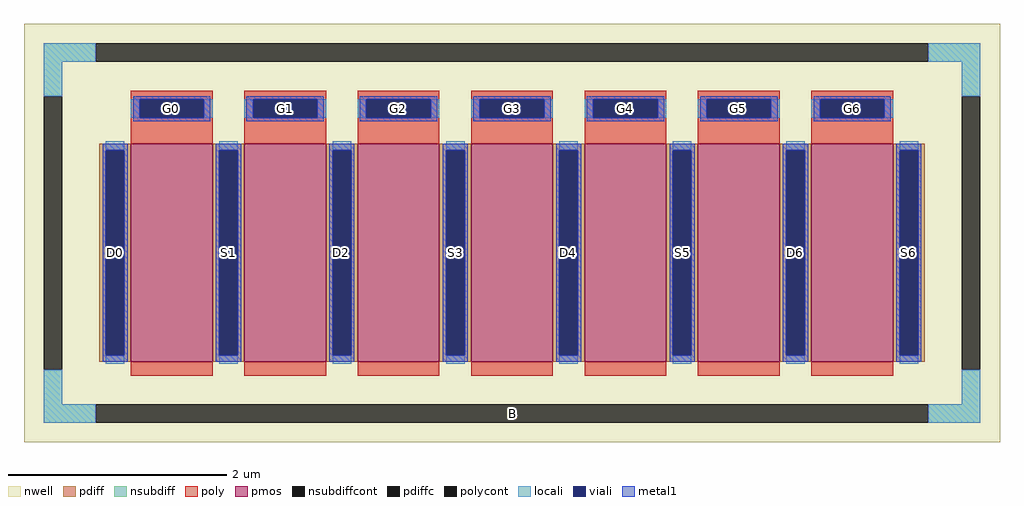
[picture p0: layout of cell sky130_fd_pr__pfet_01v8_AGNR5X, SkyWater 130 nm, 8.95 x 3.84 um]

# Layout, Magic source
magic
tech sky130A
magscale 1 2
<< nwell >>
rect -895 -384 895 384
<< pmos >>
rect -699 -236 -549 164
rect -491 -236 -341 164
rect -283 -236 -133 164
rect -75 -236 75 164
rect 133 -236 283 164
rect 341 -236 491 164
rect 549 -236 699 164
<< pdiff >>
rect -757 152 -699 164
rect -757 -224 -745 152
rect -711 -224 -699 152
rect -757 -236 -699 -224
rect -549 152 -491 164
rect -549 -224 -537 152
rect -503 -224 -491 152
rect -549 -236 -491 -224
rect -341 152 -283 164
rect -341 -224 -329 152
rect -295 -224 -283 152
rect -341 -236 -283 -224
rect -133 152 -75 164
rect -133 -224 -121 152
rect -87 -224 -75 152
rect -133 -236 -75 -224
rect 75 152 133 164
rect 75 -224 87 152
rect 121 -224 133 152
rect 75 -236 133 -224
rect 283 152 341 164
rect 283 -224 295 152
rect 329 -224 341 152
rect 283 -236 341 -224
rect 491 152 549 164
rect 491 -224 503 152
rect 537 -224 549 152
rect 491 -236 549 -224
rect 699 152 757 164
rect 699 -224 711 152
rect 745 -224 757 152
rect 699 -236 757 -224
<< pdiffc >>
rect -745 -224 -711 152
rect -537 -224 -503 152
rect -329 -224 -295 152
rect -121 -224 -87 152
rect 87 -224 121 152
rect 295 -224 329 152
rect 503 -224 537 152
rect 711 -224 745 152
<< nsubdiff >>
rect -859 314 -763 348
rect 763 314 859 348
rect -859 251 -825 314
rect 825 251 859 314
rect -859 -314 -825 -251
rect 825 -314 859 -251
rect -859 -348 -763 -314
rect 763 -348 859 -314
<< nsubdiffcont >>
rect -763 314 763 348
rect -859 -251 -825 251
rect 825 -251 859 251
rect -763 -348 763 -314
<< poly >>
rect -699 245 -549 261
rect -699 211 -683 245
rect -565 211 -549 245
rect -699 164 -549 211
rect -491 245 -341 261
rect -491 211 -475 245
rect -357 211 -341 245
rect -491 164 -341 211
rect -283 245 -133 261
rect -283 211 -267 245
rect -149 211 -133 245
rect -283 164 -133 211
rect -75 245 75 261
rect -75 211 -59 245
rect 59 211 75 245
rect -75 164 75 211
rect 133 245 283 261
rect 133 211 149 245
rect 267 211 283 245
rect 133 164 283 211
rect 341 245 491 261
rect 341 211 357 245
rect 475 211 491 245
rect 341 164 491 211
rect 549 245 699 261
rect 549 211 565 245
rect 683 211 699 245
rect 549 164 699 211
rect -699 -262 -549 -236
rect -491 -262 -341 -236
rect -283 -262 -133 -236
rect -75 -262 75 -236
rect 133 -262 283 -236
rect 341 -262 491 -236
rect 549 -262 699 -236
<< polycont >>
rect -683 211 -565 245
rect -475 211 -357 245
rect -267 211 -149 245
rect -59 211 59 245
rect 149 211 267 245
rect 357 211 475 245
rect 565 211 683 245
<< locali >>
rect -859 314 -763 348
rect 763 314 859 348
rect -859 251 -825 314
rect 825 251 859 314
rect -699 211 -683 245
rect -565 211 -549 245
rect -491 211 -475 245
rect -357 211 -341 245
rect -283 211 -267 245
rect -149 211 -133 245
rect -75 211 -59 245
rect 59 211 75 245
rect 133 211 149 245
rect 267 211 283 245
rect 341 211 357 245
rect 475 211 491 245
rect 549 211 565 245
rect 683 211 699 245
rect -745 152 -711 168
rect -745 -240 -711 -224
rect -537 152 -503 168
rect -537 -240 -503 -224
rect -329 152 -295 168
rect -329 -240 -295 -224
rect -121 152 -87 168
rect -121 -240 -87 -224
rect 87 152 121 168
rect 87 -240 121 -224
rect 295 152 329 168
rect 295 -240 329 -224
rect 503 152 537 168
rect 503 -240 537 -224
rect 711 152 745 168
rect 711 -240 745 -224
rect -859 -314 -825 -251
rect 825 -314 859 -251
rect -859 -348 -763 -314
rect 763 -348 859 -314
<< viali >>
rect -683 211 -565 245
rect -475 211 -357 245
rect -267 211 -149 245
rect -59 211 59 245
rect 149 211 267 245
rect 357 211 475 245
rect 565 211 683 245
rect -745 -224 -711 152
rect -537 -224 -503 152
rect -329 -224 -295 152
rect -121 -224 -87 152
rect 87 -224 121 152
rect 295 -224 329 152
rect 503 -224 537 152
rect 711 -224 745 152
<< metal1 >>
rect -695 245 -553 251
rect -695 211 -683 245
rect -565 211 -553 245
rect -695 205 -553 211
rect -487 245 -345 251
rect -487 211 -475 245
rect -357 211 -345 245
rect -487 205 -345 211
rect -279 245 -137 251
rect -279 211 -267 245
rect -149 211 -137 245
rect -279 205 -137 211
rect -71 245 71 251
rect -71 211 -59 245
rect 59 211 71 245
rect -71 205 71 211
rect 137 245 279 251
rect 137 211 149 245
rect 267 211 279 245
rect 137 205 279 211
rect 345 245 487 251
rect 345 211 357 245
rect 475 211 487 245
rect 345 205 487 211
rect 553 245 695 251
rect 553 211 565 245
rect 683 211 695 245
rect 553 205 695 211
rect -751 152 -705 164
rect -751 -224 -745 152
rect -711 -224 -705 152
rect -751 -236 -705 -224
rect -543 152 -497 164
rect -543 -224 -537 152
rect -503 -224 -497 152
rect -543 -236 -497 -224
rect -335 152 -289 164
rect -335 -224 -329 152
rect -295 -224 -289 152
rect -335 -236 -289 -224
rect -127 152 -81 164
rect -127 -224 -121 152
rect -87 -224 -81 152
rect -127 -236 -81 -224
rect 81 152 127 164
rect 81 -224 87 152
rect 121 -224 127 152
rect 81 -236 127 -224
rect 289 152 335 164
rect 289 -224 295 152
rect 329 -224 335 152
rect 289 -236 335 -224
rect 497 152 543 164
rect 497 -224 503 152
rect 537 -224 543 152
rect 497 -236 543 -224
rect 705 152 751 164
rect 705 -224 711 152
rect 745 -224 751 152
rect 705 -236 751 -224
<< labels >>
rlabel nsubdiffcont 0 -331 0 -331 0 B
port 1 nsew
rlabel pdiffc -728 -36 -728 -36 0 D0
port 2 nsew
rlabel polycont -624 228 -624 228 0 G0
port 3 nsew
rlabel pdiffc -520 -36 -520 -36 0 S1
port 4 nsew
rlabel polycont -416 228 -416 228 0 G1
port 5 nsew
rlabel pdiffc -312 -36 -312 -36 0 D2
port 6 nsew
rlabel polycont -208 228 -208 228 0 G2
port 7 nsew
rlabel pdiffc -104 -36 -104 -36 0 S3
port 8 nsew
rlabel polycont 0 228 0 228 0 G3
port 9 nsew
rlabel pdiffc 104 -36 104 -36 0 D4
port 10 nsew
rlabel polycont 208 228 208 228 0 G4
port 11 nsew
rlabel pdiffc 312 -36 312 -36 0 S5
port 12 nsew
rlabel polycont 416 228 416 228 0 G5
port 13 nsew
rlabel pdiffc 520 -36 520 -36 0 D6
port 14 nsew
rlabel pdiffc 728 -36 728 -36 0 S6
port 15 nsew
rlabel polycont 624 228 624 228 0 G6
port 16 nsew
<< properties >>
string FIXED_BBOX -842 -331 842 331
string gencell sky130_fd_pr__pfet_01v8
string library sky130
string parameters w 2 l 0.75 m 1 nf 7 diffcov 100 polycov 100 guard 1 glc 1 grc 1 gtc 1 gbc 1 tbcov 100 rlcov 100 topc 1 botc 0 poverlap 0 doverlap 1 lmin 0.15 wmin 0.42 class mosfet compatible {sky130_fd_pr__pfet_01v8  sky130_fd_pr__pfet_01v8_lvt sky130_fd_pr__pfet_01v8_hvt  sky130_fd_pr__pfet_g5v0d10v5} full_metal 1 conn_gates 0 viasrc 100 viadrn 100 viagate 100 viagb 0 viagr 0 viagl 0 viagt 0 doports 1
<< end >>
